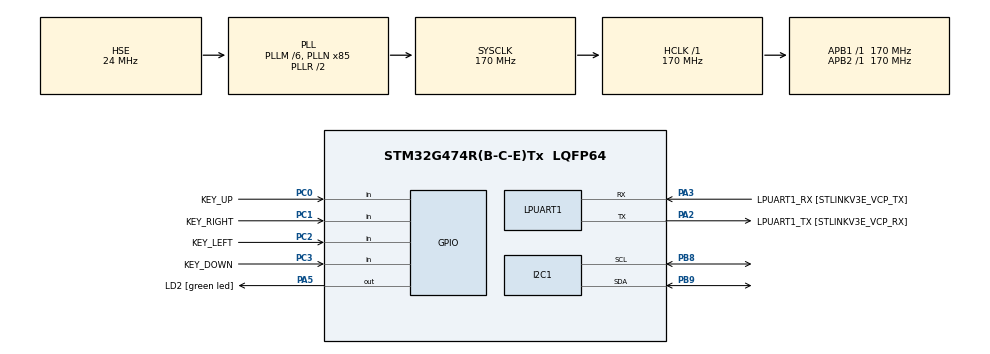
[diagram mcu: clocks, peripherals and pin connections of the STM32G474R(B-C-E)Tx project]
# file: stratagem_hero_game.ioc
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FREERTOS.Tasks01=GameTask,41,300,StartGameTask,Default,NULL,Static,GameTaskBuffer,GameTaskControlBlock;DisplayTask,8,128,StartDisplayTask,Default,NULL,Static,DisplayTaskBuffer,DisplayTaskControlBlock
I2C1.Timing=0x40B285C2
Mcu.Family=STM32G4
Mcu.Name=STM32G474R(B-C-E)Tx
Mcu.Package=LQFP64
NVIC.PriorityGroup=NVIC_PRIORITYGROUP_4
PA13.GPIO_Label=T_SWDIO
PA13.Mode=Serial_Wire
PA13.Signal=SYS_JTMS-SWDIO
PA14.GPIO_Label=T_SWCLK
PA14.Mode=Serial_Wire
PA14.Signal=SYS_JTCK-SWCLK
PA2.GPIO_Label=LPUART1_TX [STLINKV3E_VCP_RX]
PA2.Mode=Asynchronous
PA2.Signal=LPUART1_TX
PA3.GPIO_Label=LPUART1_RX [STLINKV3E_VCP_TX]
PA3.Mode=Asynchronous
PA3.Signal=LPUART1_RX
PA5.GPIO_Label=LD2 [green led]
PA5.Signal=GPIO_Output
PB3.GPIO_Label=T_SWO
PB3.Signal=SYS_JTDO-SWO
PB8-BOOT0.GPIO_Speed=GPIO_SPEED_FREQ_VERY_HIGH
PB8-BOOT0.Mode=I2C
PB8-BOOT0.Signal=I2C1_SCL
PB9.GPIO_Pu=GPIO_NOPULL
PB9.GPIO_Speed=GPIO_SPEED_FREQ_VERY_HIGH
PB9.Mode=I2C
PB9.Signal=I2C1_SDA
PC0.GPIO_Label=KEY_UP
PC0.GPIO_PuPd=GPIO_PULLUP
PC0.Signal=GPIO_Input
PC1.GPIO_Label=KEY_RIGHT
PC1.GPIO_PuPd=GPIO_PULLUP
PC1.Signal=GPIO_Input
PC14-OSC32_IN.GPIO_Label=RCC_OSC32_IN
PC14-OSC32_IN.Signal=RCC_OSC32_IN
PC15-OSC32_OUT.GPIO_Label=RCC_OSC32_OUT
PC15-OSC32_OUT.Signal=RCC_OSC32_OUT
PC2.GPIO_Label=KEY_LEFT
PC2.GPIO_PuPd=GPIO_PULLUP
PC2.Signal=GPIO_Input
PC3.GPIO_Label=KEY_DOWN
PC3.GPIO_PuPd=GPIO_PULLUP
PC3.Signal=GPIO_Input
PF0-OSC_IN.GPIO_Label=RCC_OSC_IN
PF0-OSC_IN.Mode=HSE-External-Oscillator
PF0-OSC_IN.Signal=RCC_OSC_IN
PF1-OSC_OUT.GPIO_Label=RCC_OSC_OUT
PF1-OSC_OUT.Mode=HSE-External-Oscillator
PF1-OSC_OUT.Signal=RCC_OSC_OUT
ProjectManager.HeapSize=0x200
ProjectManager.StackSize=0x400
ProjectManager.TargetToolchain=CMake
RCC.ADC12Freq_Value=170000000
RCC.ADC345Freq_Value=170000000
RCC.AHBFreq_Value=170000000
RCC.APB1Freq_Value=170000000
RCC.APB1TimFreq_Value=170000000
RCC.APB2Freq_Value=170000000
RCC.APB2TimFreq_Value=170000000
RCC.CK48CLockSelection=RCC_USBCLKSOURCE_HSI48
RCC.CortexFreq_Value=170000000
RCC.EXTERNAL_CLOCK_VALUE=12288000
RCC.HCLKFreq_Value=170000000
RCC.HSE_VALUE=24000000
RCC.HSI48_VALUE=48000000
RCC.HSI_VALUE=16000000
RCC.LSE_VALUE=32768
RCC.PLLM=RCC_PLLM_DIV6
RCC.PLLN=85
RCC.PLLSourceVirtual=RCC_PLLSOURCE_HSE
RCC.RTCClockSelection=RCC_RTCCLKSOURCE_LSE
RCC.SYSCLKFreq_VALUE=170000000
RCC.SYSCLKSource=RCC_SYSCLKSOURCE_PLLCLK
RCC.USBFreq_Value=48000000
RCC.VCOOutputFreq_Value=340000000
VP_FREERTOS_VS_CMSIS_V2.Mode=CMSIS_V2
VP_RNG_VS_RNG.Mode=RNG_Activate
VP_SYS_VS_DBSignals.Mode=DisableDeadBatterySignals
board=NUCLEO-G474RE

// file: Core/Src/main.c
/* USER CODE BEGIN Header */
/**
  ******************************************************************************
  * @file           : main.c
  * @brief          : Main program body
  ******************************************************************************
  * @attention
  *
  * Copyright (c) 2025 STMicroelectronics.
  * All rights reserved.
  *
  * This software is licensed under terms that can be found in the LICENSE file
  * in the root directory of this software component.
  * If no LICENSE file comes with this software, it is provided AS-IS.
  *
  ******************************************************************************
  */
/* USER CODE END Header */
#include "main.h"
#include "cmsis_os.h"

/* USER CODE BEGIN Includes */
#include "qpc.h"
#include "lcd.h"
#include "stm32g4xx_hal_gpio.h"
#include "switch.h"
#include "display.h"
#include "game_logic.h"
/* USER CODE END Includes */

typedef StaticTask_t osStaticThreadDef_t;

I2C_HandleTypeDef hi2c1;

UART_HandleTypeDef hlpuart1;

RNG_HandleTypeDef hrng;

/* Definitions for GameTask */
osThreadId_t GameTaskHandle;
uint32_t GameTaskBuffer[ 300 ];
osStaticThreadDef_t GameTaskControlBlock;
const osThreadAttr_t GameTask_attributes = {
  .name = "GameTask",
  .stack_mem = &GameTaskBuffer[0],
  .stack_size = sizeof(GameTaskBuffer),
  .cb_mem = &GameTaskControlBlock,
  .cb_size = sizeof(GameTaskControlBlock),
  .priority = (osPriority_t) osPriorityHigh1,
};
/* Definitions for DisplayTask */
osThreadId_t DisplayTaskHandle;
uint32_t DisplayTaskBuffer[ 128 ];
osStaticThreadDef_t DisplayTaskControlBlock;
const osThreadAttr_t DisplayTask_attributes = {
  .name = "DisplayTask",
  .stack_mem = &DisplayTaskBuffer[0],
  .stack_size = sizeof(DisplayTaskBuffer),
  .cb_mem = &DisplayTaskControlBlock,
  .cb_size = sizeof(DisplayTaskControlBlock),
  .priority = (osPriority_t) osPriorityLow,
};

void SystemClock_Config(void);
static void MX_GPIO_Init(void);
static void MX_LPUART1_UART_Init(void);
static void MX_I2C1_Init(void);
static void MX_RNG_Init(void);
void StartGameTask(void *argument);
void StartDisplayTask(void *argument);

/* USER CODE BEGIN 0 */
uint32_t GameDataBuffer[200];
QEvtPtr GameEventQueueBuf[10];
extern GameDataStruct GameData;
QActive *AO_GameData =&GameData.super;
uint8_t result;
Q_NORETURN Q_onError(char const * const module, int_t const id) {
  (void)module;
  (void)id;
  // сюда попадает framework при нарушении инварианта (assert), например
  // если Game_active получит сигнал без default: и вернёт мусор,
  // или если что-то не так со структурой AO
  __disable_irq();
  // можно мигнуть светодиодом / записать module+id во флеш для отладки
  for (;;) {
  }
}
/* USER CODE END 0 */

int main(void)
{

  /* MCU Configuration--------------------------------------------------------*/

  /* Reset of all peripherals, Initializes the Flash interface and the Systick. */
  HAL_Init();

  /* Configure the system clock */
  SystemClock_Config();

  /* Initialize all configured peripherals */
  MX_GPIO_Init();
  MX_LPUART1_UART_Init();
  MX_I2C1_Init();
  MX_RNG_Init();
  /* USER CODE BEGIN 2 */
  HAL_Delay(500);
  lcd_init();
  HAL_Delay(500);
  DisplayConfigCustomChars();
  lcd_update_screen();
  Game_ctor(&GameData);
  /* USER CODE END 2 */

  /* Init scheduler */
  osKernelInitialize();

  /* Create the thread(s) */
  /* creation of GameTask */
  GameTaskHandle = osThreadNew(StartGameTask, NULL, &GameTask_attributes);

  /* creation of DisplayTask */
  DisplayTaskHandle = osThreadNew(StartDisplayTask, NULL, &DisplayTask_attributes);

  /* USER CODE BEGIN RTOS_THREADS */
  QACTIVE_START(AO_GameData, 2, GameEventQueueBuf, Q_DIM(GameEventQueueBuf), GameDataBuffer, sizeof(GameDataBuffer), (void*)0);
  /* add threads, ... */
  /* USER CODE END RTOS_THREADS */

  /* Start scheduler */
  osKernelStart();

  /* We should never get here as control is now taken by the scheduler */

  /* Infinite loop */
  while (1)
  {

  }
}

void SystemClock_Config(void)
{
  RCC_OscInitTypeDef RCC_OscInitStruct = {0};
  RCC_ClkInitTypeDef RCC_ClkInitStruct = {0};

  /** Configure the main internal regulator output voltage
  */
  HAL_PWREx_ControlVoltageScaling(PWR_REGULATOR_VOLTAGE_SCALE1_BOOST);

  /** Initializes the RCC Oscillators according to the specified parameters
  * in the RCC_OscInitTypeDef structure.
  */
  RCC_OscInitStruct.OscillatorType = RCC_OSCILLATORTYPE_HSI48|RCC_OSCILLATORTYPE_HSE;
  RCC_OscInitStruct.HSEState = RCC_HSE_ON;
  RCC_OscInitStruct.HSI48State = RCC_HSI48_ON;
  RCC_OscInitStruct.PLL.PLLState = RCC_PLL_ON;
  RCC_OscInitStruct.PLL.PLLSource = RCC_PLLSOURCE_HSE;
  RCC_OscInitStruct.PLL.PLLM = RCC_PLLM_DIV6;
  RCC_OscInitStruct.PLL.PLLN = 85;
  RCC_OscInitStruct.PLL.PLLP = RCC_PLLP_DIV2;
  RCC_OscInitStruct.PLL.PLLQ = RCC_PLLQ_DIV2;
  RCC_OscInitStruct.PLL.PLLR = RCC_PLLR_DIV2;
  if (HAL_RCC_OscConfig(&RCC_OscInitStruct) != HAL_OK)
  {
    Error_Handler();
  }

  /** Initializes the CPU, AHB and APB buses clocks
  */
  RCC_ClkInitStruct.ClockType = RCC_CLOCKTYPE_HCLK|RCC_CLOCKTYPE_SYSCLK
                              |RCC_CLOCKTYPE_PCLK1|RCC_CLOCKTYPE_PCLK2;
  RCC_ClkInitStruct.SYSCLKSource = RCC_SYSCLKSOURCE_PLLCLK;
  RCC_ClkInitStruct.AHBCLKDivider = RCC_SYSCLK_DIV1;
  RCC_ClkInitStruct.APB1CLKDivider = RCC_HCLK_DIV1;
  RCC_ClkInitStruct.APB2CLKDivider = RCC_HCLK_DIV1;

  if (HAL_RCC_ClockConfig(&RCC_ClkInitStruct, FLASH_LATENCY_4) != HAL_OK)
  {
    Error_Handler();
  }
}

static void MX_I2C1_Init(void)
{

  hi2c1.Instance = I2C1;
  hi2c1.Init.Timing = 0x40B285C2;
  hi2c1.Init.OwnAddress1 = 0;
  hi2c1.Init.AddressingMode = I2C_ADDRESSINGMODE_7BIT;
  hi2c1.Init.DualAddressMode = I2C_DUALADDRESS_DISABLE;
  hi2c1.Init.OwnAddress2 = 0;
  hi2c1.Init.OwnAddress2Masks = I2C_OA2_NOMASK;
  hi2c1.Init.GeneralCallMode = I2C_GENERALCALL_DISABLE;
  hi2c1.Init.NoStretchMode = I2C_NOSTRETCH_DISABLE;
  if (HAL_I2C_Init(&hi2c1) != HAL_OK)
  {
    Error_Handler();
  }

  /** Configure Analogue filter
  */
  if (HAL_I2CEx_ConfigAnalogFilter(&hi2c1, I2C_ANALOGFILTER_ENABLE) != HAL_OK)
  {
    Error_Handler();
  }

  /** Configure Digital filter
  */
  if (HAL_I2CEx_ConfigDigitalFilter(&hi2c1, 0) != HAL_OK)
  {
    Error_Handler();
  }

}

static void MX_LPUART1_UART_Init(void)
{

  hlpuart1.Instance = LPUART1;
  hlpuart1.Init.BaudRate = 209700;
  hlpuart1.Init.WordLength = UART_WORDLENGTH_8B;
  hlpuart1.Init.StopBits = UART_STOPBITS_1;
  hlpuart1.Init.Parity = UART_PARITY_NONE;
  hlpuart1.Init.Mode = UART_MODE_TX_RX;
  hlpuart1.Init.HwFlowCtl = UART_HWCONTROL_NONE;
  hlpuart1.Init.OneBitSampling = UART_ONE_BIT_SAMPLE_DISABLE;
  hlpuart1.Init.ClockPrescaler = UART_PRESCALER_DIV1;
  hlpuart1.AdvancedInit.AdvFeatureInit = UART_ADVFEATURE_NO_INIT;
  if (HAL_UART_Init(&hlpuart1) != HAL_OK)
  {
    Error_Handler();
  }
  if (HAL_UARTEx_SetTxFifoThreshold(&hlpuart1, UART_TXFIFO_THRESHOLD_1_8) != HAL_OK)
  {
    Error_Handler();
  }
  if (HAL_UARTEx_SetRxFifoThreshold(&hlpuart1, UART_RXFIFO_THRESHOLD_1_8) != HAL_OK)
  {
    Error_Handler();
  }
  if (HAL_UARTEx_DisableFifoMode(&hlpuart1) != HAL_OK)
  {
    Error_Handler();
  }

}

static void MX_RNG_Init(void)
{

  hrng.Instance = RNG;
  hrng.Init.ClockErrorDetection = RNG_CED_ENABLE;
  if (HAL_RNG_Init(&hrng) != HAL_OK)
  {
    Error_Handler();
  }

}

static void MX_GPIO_Init(void)
{
  GPIO_InitTypeDef GPIO_InitStruct = {0};

  /* GPIO Ports Clock Enable */
  __HAL_RCC_GPIOC_CLK_ENABLE();
  __HAL_RCC_GPIOF_CLK_ENABLE();
  __HAL_RCC_GPIOA_CLK_ENABLE();
  __HAL_RCC_GPIOB_CLK_ENABLE();

  /*Configure GPIO pin Output Level */
  HAL_GPIO_WritePin(LD2_GPIO_Port, LD2_Pin, GPIO_PIN_RESET);

  /*Configure GPIO pins : KEY_UP_Pin KEY_RIGHT_Pin KEY_LEFT_Pin KEY_DOWN_Pin */
  GPIO_InitStruct.Pin = KEY_UP_Pin|KEY_RIGHT_Pin|KEY_LEFT_Pin|KEY_DOWN_Pin;
  GPIO_InitStruct.Mode = GPIO_MODE_INPUT;
  GPIO_InitStruct.Pull = GPIO_PULLUP;
  HAL_GPIO_Init(GPIOC, &GPIO_InitStruct);

  /*Configure GPIO pin : LD2_Pin */
  GPIO_InitStruct.Pin = LD2_Pin;
  GPIO_InitStruct.Mode = GPIO_MODE_OUTPUT_PP;
  GPIO_InitStruct.Pull = GPIO_NOPULL;
  GPIO_InitStruct.Speed = GPIO_SPEED_FREQ_LOW;
  HAL_GPIO_Init(LD2_GPIO_Port, &GPIO_InitStruct);

}

void StartGameTask(void *argument)
{
  /* USER CODE BEGIN 5 */
  (void)argument;
  /* Infinite loop */
  for(;;)
  {
    result=GetKeyStates();
    if(result!=0){
      // uint8_t new_arrow=ParseKeysToLcdArrows(result);
      static QEvt const any_button_pressedEvt=QEVT_INITIALIZER(ANY_BUTTON_PRESSED);
      QACTIVE_POST(AO_GameData,&any_button_pressedEvt,0);
      UpdateLastPressedKey(result);
      HAL_GPIO_TogglePin(GPIOA, GPIO_PIN_5);
    }
    osDelay(2);
  }
  /* USER CODE END 5 */
}

void StartDisplayTask(void *argument)
{
  /* USER CODE BEGIN StartDisplayTask */
  (void)argument;
  /* Infinite loop */
  for(;;)
  {
    lcd_update_screen();
    osDelay(30);
  }
  /* USER CODE END StartDisplayTask */
}

void Error_Handler(void)
{
  __disable_irq();
  while (1)
  {
  }
}
